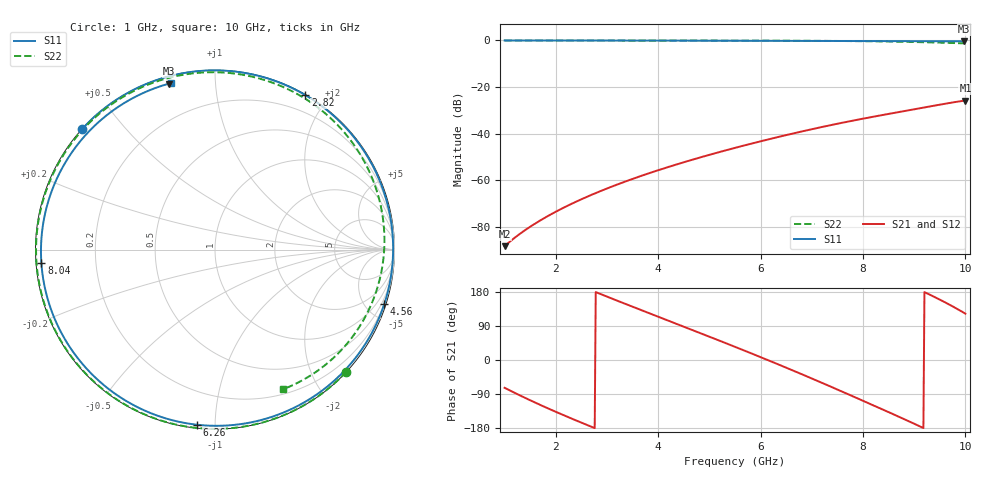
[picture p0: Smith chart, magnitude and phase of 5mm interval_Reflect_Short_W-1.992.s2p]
! Touchstone file exported from HFSS 2018.2.0
!  File:  C:/Users/10024/OneDrive - The University of Nottingham Ningbo China/Year 4/Final Year Project/HFSS project/Patch-1.aedt
!  Generated:  5:51:47 下午  3月 10, 2022
!  Design:  SMA_Reflect_Short
!  Project:  Patch-1
!  Setup:  Setup1
!  Solution:  Sweep
! Variables:
!  MW = 1.992mm
!  ThruL = 5mm
!  g = 0.2mm
!  subH = 0.8mm
!  subX = 20mm
!  subY = 15mm
# GHZ S MA R 50.000000
! Modal data exported
! Port[1] = SMA_CONNECTOR1_1:1
! Port[2] = SMA_CONNECTOR2_1:1
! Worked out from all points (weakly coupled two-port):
!   451 points, 1 GHz to 10 GHz, reference 50 ohm
!   highest |S21| = -25.80 dB at 10 GHz (marker M1); lowest = -88.4 dB at 1 GHz (marker M2)
!   lowest |S11| = -0.4 dB at 9.98 GHz (marker M3), VSWR 48.46, Z = 1.63 + j38 ohm
!   |S11| at or under -10 dB: nowhere
!   |S22| runs from -1.3 to 0.0 dB; largest |S21 - S12| = 1.3e-15
!   S11 on the Smith chart (normalised r, x): 1 GHz: 0.00, +0.39; 2.82 GHz: 0.01, +1.74; 4.56 GHz: 0.20, -6.37; 6.26 GHz: 0.02, -0.90; 8.04 GHz: 0.02, -0.04; 10 GHz: 0.03, +0.77
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1  0.9997 137.7  3.81e-05 -73.4  3.81e-05 -73.4  0.9993 -43.0
! Gamma ! 0.0151858380091474 30.3716836111913 0.0151858380091244 30.3716836112037
! Port Impedance50 0 50 0
1.5  0.9993 116.4  9.978e-05 -106.3  9.978e-05 -106.3  0.999 -64.4
2  0.9986 95.1  0.0002095 -136.8  0.0002095 -136.8  0.9987 -85.7
2.5  0.9977 73.5  0.000388 -165.4  0.000388 -165.4  0.9985 -106.9
2.82  0.997 59.6  0.00055 177.0  0.00055 177.0  0.9983 -120.3
3.44  0.9952 32.4  0.001006 143.7  0.001006 143.7  0.998 -146.2
4  0.9932 7.5  0.001631 114.2  0.001631 114.2  0.9975 -169.2
4.56  0.9907 -17.8  0.002533 84.8  0.002533 84.8  0.9967 168.0
5  0.9884 -37.9  0.003493 61.5  0.003493 61.5  0.9957 150.3
5.5  0.9855 -60.9  0.004928 34.8  0.004928 34.8  0.9941 130.3
5.88  0.9833 -78.5  0.006319 14.1  0.006319 14.1  0.9924 115.1
6.26  0.981 -96.0  0.00802 -6.8  0.00802 -6.8  0.9902 99.9
6.62  0.9788 -112.4  0.009962 -27.0  0.009962 -27.0  0.9873 85.4
7  0.9765 -129.7  0.0124 -48.7  0.0124 -48.7  0.9832 70.0
7.54  0.9733 -153.8  0.0166 -80.3  0.0166 -80.3  0.9749 47.8
8.04  0.9702 -175.5  0.0213 -110.0  0.0213 -110.0  0.9634 26.7
8.5  0.9673 165.0  0.02643 -137.6  0.02643 -137.6  0.9485 6.7
8.84  0.965 150.9  0.03087 -158.3  0.03087 -158.3  0.9343 -8.5
9.2  0.9626 136.3  0.03639 179.2  0.03639 179.2  0.9159 -25.1
9.62  0.9604 119.6  0.04404 151.0  0.04404 151.0  0.8906 -45.2
9.98  0.9596 105.4  0.05094 123.9  0.05094 123.9  0.8667 -63.1
10  0.9596 104.7  0.05129 122.3  0.05129 122.3  0.8653 -64.1
